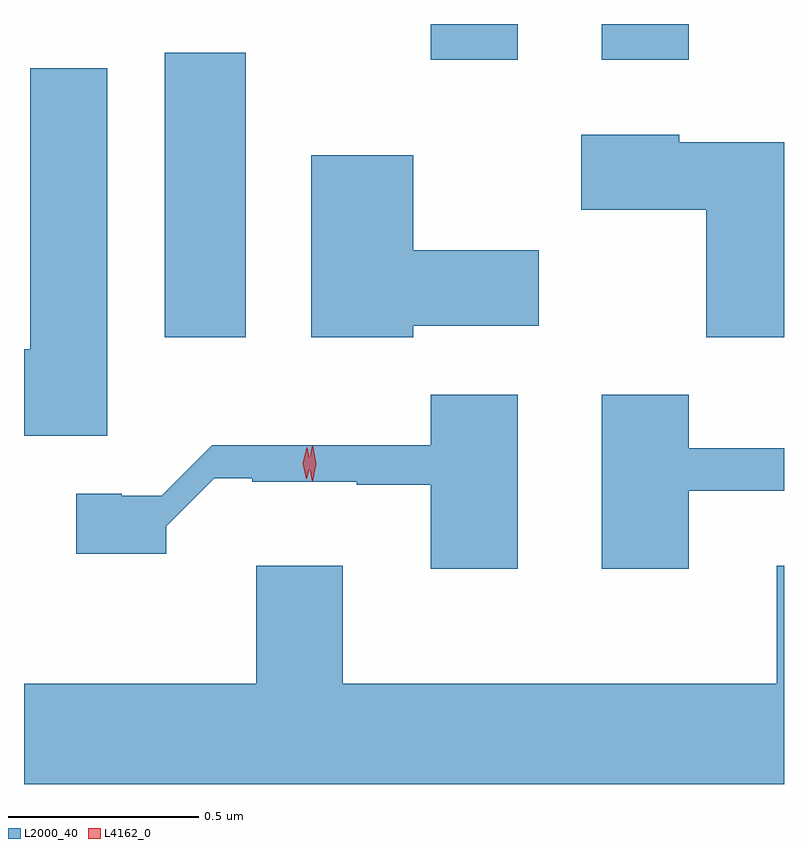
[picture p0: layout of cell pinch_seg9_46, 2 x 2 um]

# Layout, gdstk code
import gdstk
lib = gdstk.Library(unit=1e-6, precision=1e-09)
def R(c, l, rs):  # rectangles x0, y0, x1, y1
    for r in rs: c.add(gdstk.rectangle(r[:2], r[2:], *l))
def P(c, l, *ps):  # polygons
    for p in ps: c.add(gdstk.Polygon(p, *l))
L2000_40 = (2000, 40)
L4162_0 = (4162, 0)

pinch_seg9_46 = lib.new_cell('pinch_seg9_46')
R(pinch_seg9_46, L2000_40, [(629.681,2004.096,629.894,2004.844), (630.381,2004.826,630.609,2004.92), (630.831,2004.826,631.059,2004.92)])
P(pinch_seg9_46, L2000_40, [(629.529,2004.804),(629.326,2004.804),(629.326,2004.064),(629.31,2004.064),(629.31,2003.836),(629.529,2003.836)],
  [(631.31,2004.609),(631.034,2004.609),(631.034,2004.629),(630.776,2004.629),(630.776,2004.431),(631.106,2004.431),(631.106,2004.096),(631.31,2004.096)],
  [(630.334,2004.126),(630.664,2004.126),(630.664,2004.324),(630.334,2004.324),(630.334,2004.574),(630.066,2004.574),(630.066,2004.096),(630.334,2004.096)],
  [(630.609,2003.944),(630.381,2003.944),(630.381,2003.811),(629.805,2003.811),(629.672,2003.678),(629.567,2003.678),(629.567,2003.684),(629.448,2003.684),(629.448,2003.526),(629.684,2003.526),(629.684,2003.598),(629.81,2003.724),(629.91,2003.724),(629.91,2003.716),(630.185,2003.716),(630.185,2003.707),(630.381,2003.707),(630.381,2003.486),(630.609,2003.486)],
  [(631.059,2003.692),(631.31,2003.692),(631.31,2003.804),(631.059,2003.804),(631.059,2003.944),(630.831,2003.944),(630.831,2003.486),(631.059,2003.486)],
  [(631.31,2003.494),(631.291,2003.494),(631.291,2003.184),(630.149,2003.184),(630.149,2003.494),(629.921,2003.494),(629.921,2003.184),(629.31,2003.184),(629.31,2002.92),(631.31,2002.92)])
P(pinch_seg9_46, L4162_0, [(630.068,2003.715),(630.059,2003.763),(630.068,2003.811),(630.069,2003.811),(630.07,2003.811),(630.079,2003.763),(630.07,2003.715),(630.069,2003.715)],
  [(630.053,2003.723),(630.044,2003.764),(630.054,2003.805),(630.054,2003.806),(630.055,2003.805),(630.064,2003.764),(630.054,2003.723),(630.054,2003.723)])

lib.write_gds('pinch_seg9_46.gds')
